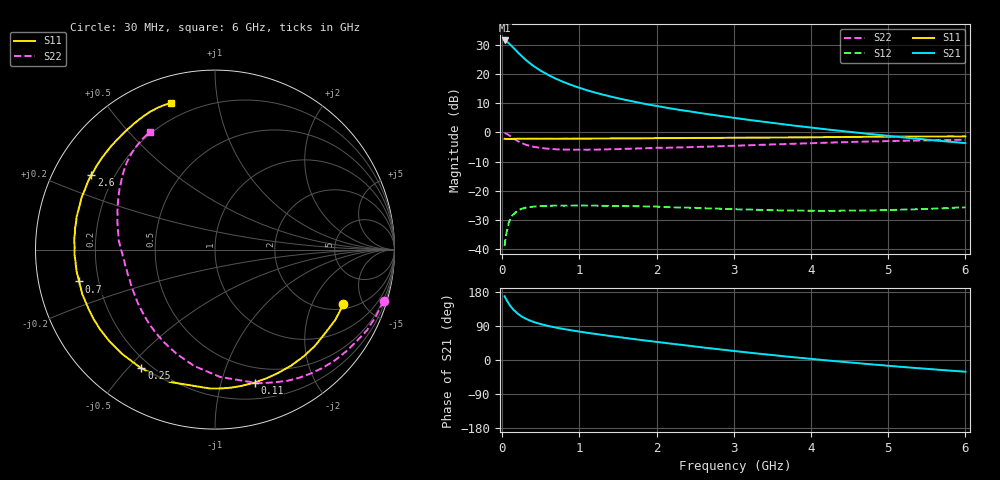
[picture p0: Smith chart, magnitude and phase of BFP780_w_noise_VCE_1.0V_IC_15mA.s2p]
! Infineon Technologies  Discrete & RF Semiconductors
! BFP780
! VCE =  1.0 V,  IC =  15 mA
! Common Emitter S-Parameters:  Jul 2015
# GHz  S  MA  R  50
!  f  S11  S21  S12  S22
! GHz  MAG  ANG  MAG  ANG  MAG  ANG  MAG  ANG
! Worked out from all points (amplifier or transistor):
!   75 points, 30 MHz to 6 GHz, reference 50 ohm
!   highest |S21| = 31.6 dB at 30 MHz (marker M1)
!   |S21| within 3 dB of that: start of sweep to 161.8 MHz
!   unconditionally stable (mu >= 1): 2.531 GHz to end of sweep
!   at 150 MHz: K = 0.06, MSG = 28.5 dB, |S12| = -28.0 dB
!   at 2.3 GHz: K = 0.91, MSG = 16.8 dB, |S12| = -25.8 dB
!   at 6 GHz: K = 1.91, MAG = 5.6 dB, |S12| = -25.7 dB
!   lowest NFmin = 0.87 dB at 450 MHz
!   S11 on the Smith chart (normalised r, x): 30 MHz: 2.28, -3.51; 110 MHz: 0.35, -1.28; 250 MHz: 0.16, -0.55; 700 MHz: 0.13, -0.11; 2.6 GHz: 0.12, +0.28; 6 GHz: 0.12, +0.74
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0.03  0.7775 -23.0  38.09 168.0  0.0111 78.7  0.9817 -17.0
0.05  0.7704 -37.3  37.04 160.1  0.0176 75.6  0.9586 -28.0
0.07  0.7731 -50.3  35.38 153.3  0.0227 64.9  0.9241 -38.1
0.09  0.7722 -62.8  33.6 146.9  0.0294 58.9  0.8895 -48.0
0.11  0.7732 -73.4  31.57 141.2  0.0333 53.0  0.8536 -56.9
0.15  0.7746 -92.0  28.01 131.6  0.0397 44.5  0.7818 -72.2
0.2  0.7795 -109.0  23.86 122.3  0.0454 36.2  0.7106 -87.6
0.25  0.7786 -121.8  20.57 115.0  0.0487 30.0  0.6587 -100.2
0.3  0.7784 -131.5  17.85 109.4  0.0508 24.9  0.6187 -110.3
0.35  0.7791 -139.3  15.74 104.7  0.0522 21.1  0.5897 -118.7
0.4  0.7794 -145.3  14.02 100.9  0.0529 18.5  0.5689 -125.6
0.5  0.7781 -154.5  11.46 94.6  0.0542 13.8  0.5403 -136.5
0.7  0.7776 -166.8  8.307 85.3  0.0552 8.0  0.5129 -151.1
0.9  0.7802 -175.0  6.489 78.1  0.0552 4.1  0.504 -160.7
1.1  0.7823 178.8  5.297 71.8  0.0552 1.5  0.5044 -167.7
1.5  0.7884 169.1  3.865 60.7  0.0545 -2.4  0.5172 -177.7
2.1  0.798 157.4  2.697 45.3  0.0522 -7.0  0.5439 171.7
2.6  0.8047 148.8  2.119 33.1  0.0499 -9.4  0.5675 163.3
3.1  0.8115 140.8  1.71 21.6  0.0475 -9.8  0.5965 155.3
4.1  0.8277 126.4  1.171 1.0  0.045 -7.2  0.6591 141.5
5.1  0.8492 114.9  0.847 -16.9  0.0467 -3.2  0.7144 129.6
6  0.8537 106.6  0.656 -30.9  0.0517 -1.4  0.749 119.0
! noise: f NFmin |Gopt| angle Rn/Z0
0.45  0.87  0.15  114  0.08
0.9  0.93  0.21  148  0.07
1.5  1.06  0.3  165  0.06
1.8  1.28  0.4  -180  0.06
2.4  1.48  0.46  -167  0.08
3  1.85  0.5  -151  0.12
3.5  2.47  0.57  -133  0.22
